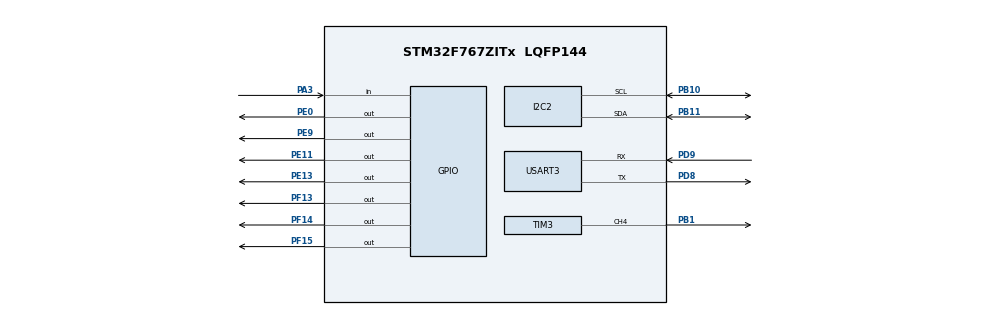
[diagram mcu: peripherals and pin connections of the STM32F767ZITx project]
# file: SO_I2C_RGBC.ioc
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Mcu.Family=STM32F7
Mcu.Name=STM32F767ZITx
Mcu.Package=LQFP144
NVIC.PriorityGroup=NVIC_PRIORITYGROUP_4
PA13.Mode=Serial_Wire
PA13.Signal=SYS_JTMS-SWDIO
PA14.Mode=Serial_Wire
PA14.Signal=SYS_JTCK-SWCLK
PA3.Signal=GPIO_Input
PB1.Signal=S_TIM3_CH4
PB10.Mode=I2C
PB10.Signal=I2C2_SCL
PB11.Mode=I2C
PB11.Signal=I2C2_SDA
PD8.Mode=Asynchronous
PD8.Signal=USART3_TX
PD9.Mode=Asynchronous
PD9.Signal=USART3_RX
PE0.Signal=GPIO_Output
PE11.Signal=GPIO_Output
PE13.Signal=GPIO_Output
PE9.Signal=GPIO_Output
PF13.Signal=GPIO_Output
PF14.Signal=GPIO_Output
PF15.Signal=GPIO_Output
ProjectManager.HeapSize=0x200
ProjectManager.StackSize=0x400
ProjectManager.TargetToolchain=STM32CubeIDE
RCC.HSE_VALUE=25000000
RCC.HSI_VALUE=16000000
RCC.LSE_VALUE=32768
RCC.USBFreq_Value=96000000
RCC.VCOOutputFreq_Value=192000000
SH.S_TIM3_CH4.0=TIM3_CH4,PWM Generation4 CH4
TIM3.AutoReloadPreload=TIM_AUTORELOAD_PRELOAD_ENABLE
TIM3.Channel-PWM\ Generation4\ CH4=TIM_CHANNEL_4
TIM3.Period=2000-1
TIM3.Prescaler=36-1
USART3.VirtualMode-Asynchronous=VM_ASYNC
board=custom

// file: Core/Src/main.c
/* USER CODE BEGIN Header */
/**
  ******************************************************************************
  * @file           : main.c
  * @brief          : Main program body
  ******************************************************************************
  * @attention
  *
  * Copyright (c) 2023 STMicroelectronics.
  * All rights reserved.
  *
  * This software is licensed under terms that can be found in the LICENSE file
  * in the root directory of this software component.
  * If no LICENSE file comes with this software, it is provided AS-IS.
  *
  ******************************************************************************
  */
/* USER CODE END Header */
#include "main.h"

/* USER CODE BEGIN Includes */
#include <stdio.h>
#include <string.h>
#include "lcd.h"
/* USER CODE END Includes */

/* USER CODE BEGIN PTD */
typedef struct{
	uint16_t R;
	uint16_t G;
	uint16_t B;
	uint16_t C;
}RGB;
/* USER CODE END PTD */

/* USER CODE BEGIN PD */
#define RS_PORT GPIOF
#define EN_PORT GPIOE

#define D4_PORT GPIOF
#define D5_PORT GPIOE
#define D6_PORT GPIOE
#define D7_PORT GPIOF

//4 pin mode -> pins
#define D4_PIN GPIO_PIN_14
#define D5_PIN GPIO_PIN_11
#define D6_PIN GPIO_PIN_9
#define D7_PIN GPIO_PIN_13

#define RS_PIN GPIO_PIN_15
#define EN_PIN GPIO_PIN_13

#define TCS34725_CMD_Read_Word    0x20
#define TCS34725_CMD_BIT          0x80
#define IIC_Addr_t				  0x29<<1
//#define I2C_MEMADD_SIZE_8BIT      0x00000001U
//#define I2C_MEMADD_SIZE_16BIT     0x00000010U

#define TCS34725_ATIME            0x01    /* Integration time */
#define TCS34725_CONTROL          0x0F    /* Set the gain level for the sensor */

#define TCS34725_ENABLE           0x00
#define TCS34725_ENABLE_AIEN      0x10    /* RGBC Interrupt Enable */
#define TCS34725_ENABLE_WEN       0x08     /* Wait enable - Writing 1 activates the wait timer */
#define TCS34725_ENABLE_AEN       0x02     /* RGBC Enable - Writing 1 actives the ADC, 0 disables it */
#define TCS34725_ENABLE_PON       0x01    /* Power on - Writing 1 activates the internal oscillator, 0 disables it */

#define TCS34725_CDATAL           0x14    /* Clear channel data */
#define TCS34725_CDATAH           0x15
#define TCS34725_RDATAL           0x16    /* Red channel data */
#define TCS34725_RDATAH           0x17
#define TCS34725_GDATAL           0x18    /* Green channel data */
#define TCS34725_GDATAH           0x19
#define TCS34725_BDATAL           0x1A    /* Blue channel data */
#define TCS34725_BDATAH           0x1B

#define TCS34725_AILTL            0x04    /* Clear channel lower interrupt threshold */
#define TCS34725_AILTH            0x05
#define TCS34725_AIHTL            0x06    /* Clear channel upper interrupt threshold */
#define TCS34725_AIHTH            0x07
/* USER CODE END PD */

I2C_HandleTypeDef hi2c2;

TIM_HandleTypeDef htim3;

UART_HandleTypeDef huart3;

/* USER CODE BEGIN PV */
LCD_t lcd;
/* USER CODE END PV */

void SystemClock_Config(void);
static void MX_GPIO_Init(void);
static void MX_I2C2_Init(void);
static void MX_USART3_UART_Init(void);
static void MX_TIM3_Init(void);

/* USER CODE BEGIN 0 */

void display_message ( char *title,  char *message ) {
//	lcd_clear(&lcd);
	lcd_setCursor(&lcd, 0, 0);
	lcd_print(&lcd, title);
	lcd_setCursor(&lcd, 0, 1);
	lcd_print(&lcd, message);
}

uint16_t DEV_I2C_ReadWord(uint8_t add_)
{
    uint8_t Buf[2]={0, 0};
		HAL_I2C_Mem_Read(&hi2c2, IIC_Addr_t, add_, I2C_MEMADD_SIZE_8BIT, Buf, 2, 0x10);
    return ((Buf[1] << 8) | (Buf[0] & 0xff));
} // DEV_I2C_ReadWord END

static uint16_t TCS34725_ReadWord(uint8_t add)
{
    add = add | TCS34725_CMD_BIT;
    return DEV_I2C_ReadWord(add);
} // TCS34725_ReadWord END

void DEV_I2C_WriteByte(uint8_t add_, uint8_t data_)
{
	uint8_t Buf[1] = {0};
	Buf[0] = data_;
	HAL_I2C_Mem_Write(&hi2c2, IIC_Addr_t, add_, I2C_MEMADD_SIZE_8BIT, Buf, 1, 0x10);
}

void TCS34725_WriteByte(uint8_t add, uint8_t data)
{
    add = add | TCS34725_CMD_BIT;
    DEV_I2C_WriteByte(add, data);
}

void TCS34725_Init(void)
{
	TCS34725_WriteByte(TCS34725_ENABLE, TCS34725_ENABLE_PON);
	HAL_Delay(3);
	TCS34725_WriteByte(TCS34725_ENABLE, TCS34725_ENABLE_PON | TCS34725_ENABLE_AEN);
	HAL_Delay(3);
}

void TCS34725_Set_Integration_Time(uint16_t time)
{
    /* Update the timing register */
    TCS34725_WriteByte(TCS34725_ATIME, time);
//    IntegrationTime_t = time;
}

void TCS34725_Set_Gain(uint16_t gain)
{
	TCS34725_WriteByte(TCS34725_CONTROL, gain);
//    Gain_t = gain;
}

RGB TCS34725_Get_RGBData()
{
    RGB temp;
    temp.C = TCS34725_ReadWord(TCS34725_CDATAL | TCS34725_CMD_Read_Word);
    temp.R = TCS34725_ReadWord(TCS34725_RDATAL | TCS34725_CMD_Read_Word);
    temp.G = TCS34725_ReadWord(TCS34725_GDATAL | TCS34725_CMD_Read_Word);
    temp.B = TCS34725_ReadWord(TCS34725_BDATAL | TCS34725_CMD_Read_Word);

    HAL_Delay(3);
    return temp;
} // TCS34725_Get_RGBData END

/******************************************************************************
function:   Convert raw RGB values to RGB888 format
parameter	:
     rgb    : RGBC Numerical value
******************************************************************************/
uint32_t TCS34725_GetRGB888(RGB rgb)
{
    float i=1;
    //Limit data range
    if(rgb.R >= rgb.G && rgb.R >= rgb.B){
        i = rgb.R / 255 + 1;
    }
    else if(rgb.G >= rgb.R && rgb.G >= rgb.B){
        i = rgb.G / 255 + 1;
    }
    else if(rgb.B >=  rgb.G && rgb.B >= rgb.R){
        i = rgb.B / 255 + 1;
    }

    if(i!=0)
    {
        rgb.R = (rgb.R) / i;
        rgb.G = (rgb.G) / i;
        rgb.B = (rgb.B) / i;
    }

    if(rgb.R > 30)
        rgb.R = rgb.R - 30;
    if(rgb.G > 30)
        rgb.G = rgb.G - 30;
    if(rgb.B > 30)
        rgb.B = rgb.B - 30;
    rgb.R = rgb.R * 255 / 225;
    rgb.G = rgb.G * 255 / 225;
    rgb.B = rgb.B * 255 / 225;

    if(rgb.R>255)
           rgb.R = 255;
    if(rgb.G>255)
           rgb.G = 255;
    if(rgb.B>255)
           rgb.B = 255;
    return (rgb.R << 16) | (rgb.G << 8) | (rgb.B);
}

/******************************************************************************
function:   Convert raw RGB values to RGB565 format
parameter	:
     rgb    : RGBC Numerical value
******************************************************************************/

static void TCS34725_Set_Interrupt_Threshold(uint16_t Threshold_H, uint16_t Threshold_L)
{
    TCS34725_WriteByte(TCS34725_AILTL, Threshold_L & 0xff);
    TCS34725_WriteByte(TCS34725_AILTH, Threshold_L >> 8);
    TCS34725_WriteByte(TCS34725_AIHTL, Threshold_H & 0xff);
    TCS34725_WriteByte(TCS34725_AIHTH, Threshold_H >> 8);
}

static void TCS34725_Set_Interrupt_Persistence_Reg(uint8_t TCS34725_PER)
{
    if(TCS34725_PER < 0x10)
        TCS34725_WriteByte(0x0C, TCS34725_PER);
    else
        TCS34725_WriteByte(0x0C, 0x0f);
}

uint8_t TCS34725_GetLux_Interrupt(uint16_t Threshold_H, uint16_t Threshold_L)
{
    TCS34725_Set_Interrupt_Threshold(Threshold_H, Threshold_L);
    if(HAL_GPIO_ReadPin(TIM3, TIM_CHANNEL_4) == 0){
    	TCS34725_WriteByte(0x66, 0x00);
        TCS34725_Set_Interrupt_Persistence_Reg(0x02);
        return 1;
    }
    return 0;
}

/* USER CODE END 0 */

int main(void)
{
  /* USER CODE BEGIN 1 */
	RGB rgb;
	uint32_t RGB888;
	uint8_t r_data;
	uint8_t g_data;
	uint8_t b_data;

	char buffer[50];
	int buffer_len;

	char title[] = "Banana Grade:";
	char rx_buffer[50] = "";
//	uint8_t rx_index = 0;
//	uint32_t rx_index = 0;
	uint8_t lcd_flag = 0;

	HAL_StatusTypeDef status;
  /* USER CODE END 1 */

  /* MCU Configuration--------------------------------------------------------*/

  /* Reset of all peripherals, Initializes the Flash interface and the Systick. */
  HAL_Init();

  /* Configure the system clock */
  SystemClock_Config();

  /* Initialize all configured peripherals */
  MX_GPIO_Init();
  MX_I2C2_Init();
  MX_USART3_UART_Init();
  MX_TIM3_Init();
  /* USER CODE BEGIN 2 */
  TCS34725_Init();
//    TCS34725_INTEGRATIONTIME_2_4MS  = 0xFF,   /**<  2.4ms - 1 cycle    - Max Count: 1024  */
//    TCS34725_INTEGRATIONTIME_24MS   = 0xF6,   /**<  24ms  - 10 cycles  - Max Count: 10240 */
//    TCS34725_INTEGRATIONTIME_50MS   = 0xEB,   /**<  50ms  - 20 cycles  - Max Count: 20480 */
//    TCS34725_INTEGRATIONTIME_101MS  = 0xD5,   /**<  101ms - 42 cycles  - Max Count: 43008 */
//    TCS34725_INTEGRATIONTIME_154MS  = 0xC0,   /**<  154ms - 64 cycles  - Max Count: 65535 */
//    TCS34725_INTEGRATIONTIME_700MS  = 0x00    /**<  700ms - 256 cycles - Max Count: 65535 */
  TCS34725_Set_Integration_Time(0xEB);

//    TCS34725_GAIN_1X                = 0x00,   /**<  No gain  */
//    TCS34725_GAIN_4X                = 0x01,   /**<  4x gain  */
//    TCS34725_GAIN_16X               = 0x02,   /**<  16x gain */
//    TCS34725_GAIN_60X               = 0x03    /**<  60x gain */
  TCS34725_Set_Gain(0x01);

//  TCS34725_Set_Integration_Time(0x00);
//  TCS34725_Set_Gain(0x01);

  lcd.RS_port = RS_PORT;
  lcd.RS_pin = RS_PIN;

  lcd.EN_port = EN_PORT;
  lcd.EN_pin = EN_PIN;

  lcd.D4_port = D4_PORT;
  lcd.D4_pin = D4_PIN;
  lcd.D5_port = D5_PORT;
  lcd.D5_pin = D5_PIN;
  lcd.D6_port = D6_PORT;
  lcd.D6_pin = D6_PIN;
  lcd.D7_port = D7_PORT;
  lcd.D7_pin = D7_PIN;

  lcd_begin(&lcd, 16, 2, LCD_5x8DOTS);
  lcd_clear(&lcd);
  HAL_Delay(1);
  display_message(title, "pending...");
  /* USER CODE END 2 */

  /* Infinite loop */
  /* USER CODE BEGIN WHILE */
  while (1)
  {

	  uint32_t pin_state = HAL_GPIO_ReadPin(GPIOA, GPIO_PIN_3);	// read button in PA3

	  if (pin_state != GPIO_PIN_SET) {

		  lcd_flag = 1;

		  rgb=TCS34725_Get_RGBData();		// read sensor
		  RGB888=TCS34725_GetRGB888(rgb);	// convert sensor data
		  r_data = RGB888>>16;
		  g_data = (RGB888>>8) & 0xff;
		  b_data = (RGB888) & 0xff;

		  buffer_len = sprintf(buffer, "%u,%u,%u\n", r_data, g_data, b_data);
		  status = HAL_UART_Transmit(&huart3, (uint8_t *) buffer, buffer_len, 1000);	// send sensor data to client

		  HAL_Delay(500);

	  } else {

		  if (lcd_flag) {

			  status = HAL_UART_Receive(&huart3, (uint8_t *) rx_buffer, 10, 1000); // Receive grade from client

			  HAL_Delay(1000);

			  lcd_clear(&lcd);
			  HAL_Delay(1);
			  display_message(title, rx_buffer); // Display message

			  if (status == HAL_TIMEOUT) {
				  lcd_flag = 0;
			  }

		    }
	  }

  }
    /* USER CODE END WHILE */

}

void SystemClock_Config(void)
{
  RCC_OscInitTypeDef RCC_OscInitStruct = {0};
  RCC_ClkInitTypeDef RCC_ClkInitStruct = {0};

  /** Configure the main internal regulator output voltage
  */
  __HAL_RCC_PWR_CLK_ENABLE();
  __HAL_PWR_VOLTAGESCALING_CONFIG(PWR_REGULATOR_VOLTAGE_SCALE3);

  /** Initializes the RCC Oscillators according to the specified parameters
  * in the RCC_OscInitTypeDef structure.
  */
  RCC_OscInitStruct.OscillatorType = RCC_OSCILLATORTYPE_HSI;
  RCC_OscInitStruct.HSIState = RCC_HSI_ON;
  RCC_OscInitStruct.HSICalibrationValue = RCC_HSICALIBRATION_DEFAULT;
  RCC_OscInitStruct.PLL.PLLState = RCC_PLL_NONE;
  if (HAL_RCC_OscConfig(&RCC_OscInitStruct) != HAL_OK)
  {
    Error_Handler();
  }

  /** Initializes the CPU, AHB and APB buses clocks
  */
  RCC_ClkInitStruct.ClockType = RCC_CLOCKTYPE_HCLK|RCC_CLOCKTYPE_SYSCLK
                              |RCC_CLOCKTYPE_PCLK1|RCC_CLOCKTYPE_PCLK2;
  RCC_ClkInitStruct.SYSCLKSource = RCC_SYSCLKSOURCE_HSI;
  RCC_ClkInitStruct.AHBCLKDivider = RCC_SYSCLK_DIV1;
  RCC_ClkInitStruct.APB1CLKDivider = RCC_HCLK_DIV1;
  RCC_ClkInitStruct.APB2CLKDivider = RCC_HCLK_DIV1;

  if (HAL_RCC_ClockConfig(&RCC_ClkInitStruct, FLASH_LATENCY_0) != HAL_OK)
  {
    Error_Handler();
  }
}

static void MX_I2C2_Init(void)
{

  hi2c2.Instance = I2C2;
  hi2c2.Init.Timing = 0x00303D5B;
  hi2c2.Init.OwnAddress1 = 0;
  hi2c2.Init.AddressingMode = I2C_ADDRESSINGMODE_7BIT;
  hi2c2.Init.DualAddressMode = I2C_DUALADDRESS_DISABLE;
  hi2c2.Init.OwnAddress2 = 0;
  hi2c2.Init.OwnAddress2Masks = I2C_OA2_NOMASK;
  hi2c2.Init.GeneralCallMode = I2C_GENERALCALL_DISABLE;
  hi2c2.Init.NoStretchMode = I2C_NOSTRETCH_DISABLE;
  if (HAL_I2C_Init(&hi2c2) != HAL_OK)
  {
    Error_Handler();
  }

  /** Configure Analogue filter
  */
  if (HAL_I2CEx_ConfigAnalogFilter(&hi2c2, I2C_ANALOGFILTER_ENABLE) != HAL_OK)
  {
    Error_Handler();
  }

  /** Configure Digital filter
  */
  if (HAL_I2CEx_ConfigDigitalFilter(&hi2c2, 0) != HAL_OK)
  {
    Error_Handler();
  }

}

static void MX_TIM3_Init(void)
{

  TIM_MasterConfigTypeDef sMasterConfig = {0};
  TIM_OC_InitTypeDef sConfigOC = {0};

  htim3.Instance = TIM3;
  htim3.Init.Prescaler = 36-1;
  htim3.Init.CounterMode = TIM_COUNTERMODE_UP;
  htim3.Init.Period = 2000-1;
  htim3.Init.ClockDivision = TIM_CLOCKDIVISION_DIV1;
  htim3.Init.AutoReloadPreload = TIM_AUTORELOAD_PRELOAD_ENABLE;
  if (HAL_TIM_PWM_Init(&htim3) != HAL_OK)
  {
    Error_Handler();
  }
  sMasterConfig.MasterOutputTrigger = TIM_TRGO_RESET;
  sMasterConfig.MasterSlaveMode = TIM_MASTERSLAVEMODE_DISABLE;
  if (HAL_TIMEx_MasterConfigSynchronization(&htim3, &sMasterConfig) != HAL_OK)
  {
    Error_Handler();
  }
  sConfigOC.OCMode = TIM_OCMODE_PWM1;
  sConfigOC.Pulse = 0;
  sConfigOC.OCPolarity = TIM_OCPOLARITY_HIGH;
  sConfigOC.OCFastMode = TIM_OCFAST_DISABLE;
  if (HAL_TIM_PWM_ConfigChannel(&htim3, &sConfigOC, TIM_CHANNEL_4) != HAL_OK)
  {
    Error_Handler();
  }
  HAL_TIM_MspPostInit(&htim3);

}

static void MX_USART3_UART_Init(void)
{

  huart3.Instance = USART3;
  huart3.Init.BaudRate = 115200;
  huart3.Init.WordLength = UART_WORDLENGTH_8B;
  huart3.Init.StopBits = UART_STOPBITS_1;
  huart3.Init.Parity = UART_PARITY_NONE;
  huart3.Init.Mode = UART_MODE_TX_RX;
  huart3.Init.HwFlowCtl = UART_HWCONTROL_NONE;
  huart3.Init.OverSampling = UART_OVERSAMPLING_16;
  huart3.Init.OneBitSampling = UART_ONE_BIT_SAMPLE_DISABLE;
  huart3.AdvancedInit.AdvFeatureInit = UART_ADVFEATURE_NO_INIT;
  if (HAL_UART_Init(&huart3) != HAL_OK)
  {
    Error_Handler();
  }

}

static void MX_GPIO_Init(void)
{
  GPIO_InitTypeDef GPIO_InitStruct = {0};

  /* GPIO Ports Clock Enable */
  __HAL_RCC_GPIOH_CLK_ENABLE();
  __HAL_RCC_GPIOA_CLK_ENABLE();
  __HAL_RCC_GPIOB_CLK_ENABLE();
  __HAL_RCC_GPIOF_CLK_ENABLE();
  __HAL_RCC_GPIOE_CLK_ENABLE();
  __HAL_RCC_GPIOD_CLK_ENABLE();

  /*Configure GPIO pin Output Level */
  HAL_GPIO_WritePin(GPIOF, GPIO_PIN_13|GPIO_PIN_14|GPIO_PIN_15, GPIO_PIN_RESET);

  /*Configure GPIO pin Output Level */
  HAL_GPIO_WritePin(GPIOE, GPIO_PIN_9|GPIO_PIN_11|GPIO_PIN_13|GPIO_PIN_0, GPIO_PIN_RESET);

  /*Configure GPIO pin : PA3 */
  GPIO_InitStruct.Pin = GPIO_PIN_3;
  GPIO_InitStruct.Mode = GPIO_MODE_INPUT;
  GPIO_InitStruct.Pull = GPIO_NOPULL;
  HAL_GPIO_Init(GPIOA, &GPIO_InitStruct);

  /*Configure GPIO pins : PF13 PF14 PF15 */
  GPIO_InitStruct.Pin = GPIO_PIN_13|GPIO_PIN_14|GPIO_PIN_15;
  GPIO_InitStruct.Mode = GPIO_MODE_OUTPUT_PP;
  GPIO_InitStruct.Pull = GPIO_NOPULL;
  GPIO_InitStruct.Speed = GPIO_SPEED_FREQ_LOW;
  HAL_GPIO_Init(GPIOF, &GPIO_InitStruct);

  /*Configure GPIO pins : PE9 PE11 PE13 PE0 */
  GPIO_InitStruct.Pin = GPIO_PIN_9|GPIO_PIN_11|GPIO_PIN_13|GPIO_PIN_0;
  GPIO_InitStruct.Mode = GPIO_MODE_OUTPUT_PP;
  GPIO_InitStruct.Pull = GPIO_NOPULL;
  GPIO_InitStruct.Speed = GPIO_SPEED_FREQ_LOW;
  HAL_GPIO_Init(GPIOE, &GPIO_InitStruct);

}

void Error_Handler(void)
{
  __disable_irq();
  while (1)
  {
  }
}
